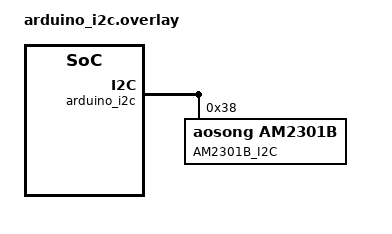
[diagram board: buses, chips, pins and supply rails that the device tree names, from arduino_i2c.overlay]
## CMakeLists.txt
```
# SPDX-License-Identifier: Apache-2.0

cmake_minimum_required(VERSION 3.20.0)
find_package(Zephyr REQUIRED HINTS $ENV{ZEPHYR_BASE})
project(am2301b)

FILE(GLOB app_sources src/*.c)
target_sources(app PRIVATE ${app_sources})
```

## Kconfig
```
# Copyright (c) 2022 Hisanori YAMAOKU
# SPDX-License-Identifier: Apache-2.0

config LOG
	default y

config LOG_PRINTK
	default y

config SENSOR_LOG_LEVEL
	default 4

config I2C
	default y

source "Kconfig.zephyr"
```

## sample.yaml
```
sample:
  name: AM2301B Sensor sample
```

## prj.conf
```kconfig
CONFIG_SENSOR=y
CONFIG_AM2301B=y
CONFIG_AM2301B_CRC_CHECK=y
```

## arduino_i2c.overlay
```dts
/*
 * Copyright (c) 2022 Hisanori Yamaoku
 * SPDX-License-Identifier: Apache-2.0
 */

&arduino_i2c {
	status = "okay";
	am2301b@38 {
		compatible = "aosong,am2301b";
		reg = <0x38>;
		label = "AM2301B_I2C";
	};
};
```

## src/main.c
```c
/*
 * Copyright (c) 2022 Hisanori YAMAOKU
 * SPDX-License-Identifier: Apache-2.0
 */

#include <zephyr.h>
#include <device.h>
#include <devicetree.h>
#include <drivers/sensor.h>

void main(void)
{
	/*
	 * Get a device structure from a devicetree node with compatible
	 * "aosong,am2301b". (If there are multiple, just pick one.)
	 */
	const struct device *dev = DEVICE_DT_GET_ANY(aosong_am2301b);

	if (dev == NULL) {
		/* No such node, or the node does not have status "okay". */
		printk("\nError: no device found.\n");
		return;
	}

	if (!device_is_ready(dev)) {
		printk("\nError: Device \"%s\" is not ready; "
		       "check the driver initialization logs for errors.\n",
		       dev->name);
		return;
	}

	printk("Found device \"%s\", getting sensor data\n", dev->name);

	while (1) {
		struct sensor_value temp, humidity;

		sensor_sample_fetch(dev);
		sensor_channel_get(dev, SENSOR_CHAN_AMBIENT_TEMP, &temp);
		sensor_channel_get(dev, SENSOR_CHAN_HUMIDITY, &humidity);

		printk("temp: %d.%06d; humidity: %d.%06d\n",
		       temp.val1, temp.val2, humidity.val1, humidity.val2);

		k_sleep(K_MSEC(1000));
	}
}
```
